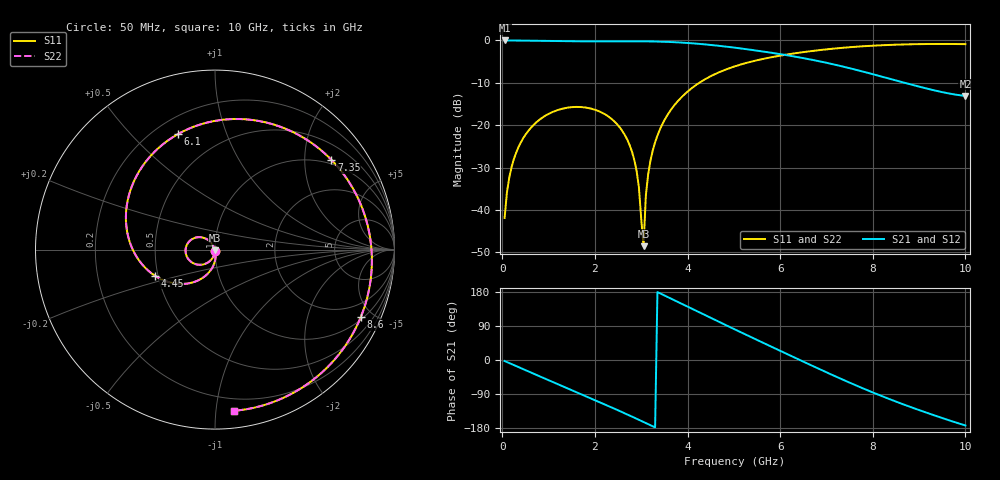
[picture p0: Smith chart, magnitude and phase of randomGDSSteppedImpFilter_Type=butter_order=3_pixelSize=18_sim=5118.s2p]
! freq	dB(S11)	phase(S11)	dB(S12)	phase(S12)
!  dB(S21)	phase(S21)	dB(S22)	phase(S22)
!S-par simulation data
#  GHz  S  DB  R 50
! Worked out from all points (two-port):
!   200 points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, 50 MHz to 10 GHz, reference 50 ohm
!   highest |S21| = 0.00 dB at 50 MHz (marker M1); lowest = -13.1 dB at 10 GHz (marker M2)
!   |S21| within 3 dB of the highest: start of sweep to 5.869 GHz
!   lowest |S11| = -48.5 dB at 3.05 GHz (marker M3), VSWR 1.01, Z = 49.9 - j0.366 ohm
!   |S11| at or under -10 dB: start of sweep to 4.253 GHz
!   |S22| runs from -49.0 to -0.8 dB; largest |S21 - S12| = 0
!   S11 on the Smith chart (normalised r, x): 50 MHz: 1.00, -0.02; 4.45 GHz: 0.48, -0.16; 6.1 GHz: 0.29, +0.69; 7.35 GHz: 0.88, +2.68; 8.6 GHz: 1.13, -4.27; 10 GHz: 0.11, -1.12
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0.05  -41.90 -92.2  -0.00 -2.7  -0.00 -2.7  -41.90 -92.2
0.2  -29.91 -100.7  -0.01 -10.7  -0.01 -10.7  -29.91 -100.7
0.5  -22.25 -117.0  -0.04 -26.8  -0.04 -26.8  -22.25 -117.0
1.15  -16.60 -151.6  -0.16 -61.1  -0.16 -61.1  -16.60 -151.7
1.75  -15.76 176.8  -0.23 -92.5  -0.23 -92.5  -15.77 176.7
2.35  -18.44 145.0  -0.21 -124.5  -0.21 -124.5  -18.44 144.8
2.75  -24.70 123.8  -0.20 -146.6  -0.20 -146.6  -24.70 123.3
2.95  -34.64 115.8  -0.20 -157.8  -0.20 -157.8  -34.67 114.2
3.05  -48.55 -101.6  -0.21 -163.5  -0.21 -163.5  -48.98 -92.8
3.1  -36.58 -83.3  -0.21 -166.4  -0.21 -166.4  -36.60 -81.2
3.15  -31.56 -83.5  -0.22 -169.3  -0.22 -169.3  -31.56 -82.4
3.4  -21.09 -95.7  -0.28 176.3  -0.28 176.3  -21.08 -95.4
3.8  -14.20 -118.6  -0.46 152.7  -0.46 152.7  -14.20 -118.5
4.45  -8.73 -156.8  -1.00 114.2  -1.00 114.2  -8.73 -156.7
5.05  -6.01 168.2  -1.74 79.0  -1.74 79.0  -6.01 168.2
6.1  -3.40 107.7  -3.40 18.5  -3.40 18.5  -3.40 107.6
6.7  -2.47 73.6  -4.59 -15.6  -4.59 -15.6  -2.47 73.5
7.35  -1.73 37.7  -6.15 -51.7  -6.15 -51.7  -1.73 37.5
8.35  -1.06 -13.1  -8.99 -102.7  -8.99 -102.7  -1.06 -13.3
8.6  -0.96 -24.8  -9.74 -114.3  -9.74 -114.3  -0.96 -24.9
9.3  -0.83 -55.1  -11.71 -144.9  -11.71 -144.9  -0.83 -55.2
10  -0.87 -83.2  -13.09 -172.7  -13.09 -172.7  -0.87 -83.3
